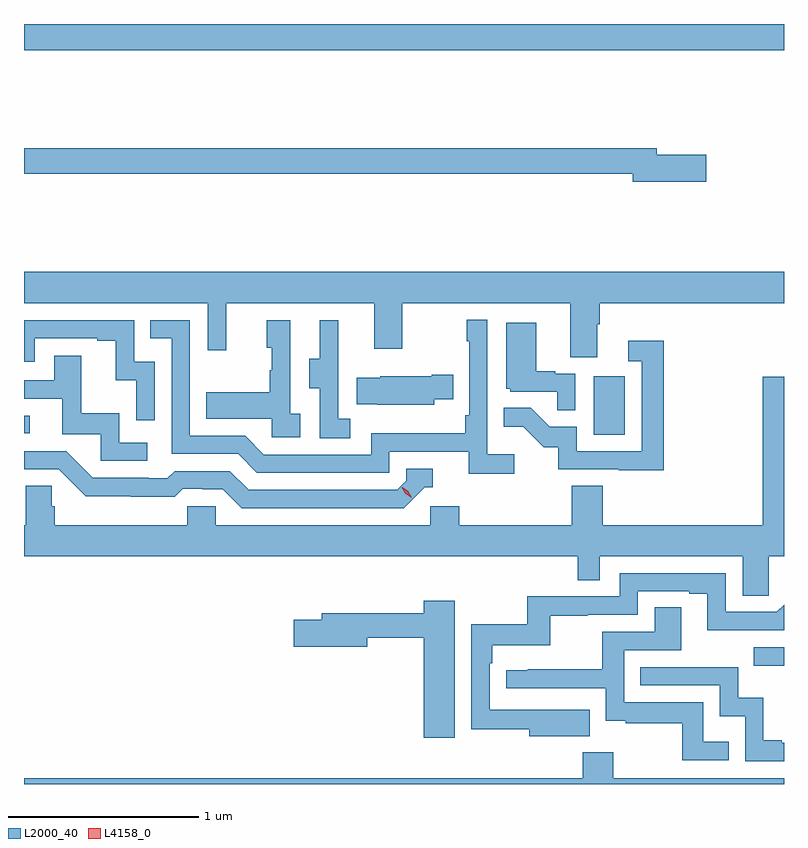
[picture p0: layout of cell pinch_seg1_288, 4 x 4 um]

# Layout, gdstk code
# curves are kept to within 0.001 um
import gdstk
lib = gdstk.Library(unit=1e-6, precision=1e-09)
def R(c, l, rs):  # rectangles x0, y0, x1, y1
    for r in rs: c.add(gdstk.rectangle(r[:2], r[2:], *l))
def P(c, l, *ps):  # polygons
    for p in ps: c.add(gdstk.Polygon(p, *l))
L2000_40 = (2000, 40)
L4158_0 = (4158, 0)

pinch_seg1_288 = lib.new_cell('pinch_seg1_288')
R(pinch_seg1_288, L2000_40, [(927.441,551.156,927.601,551.253), (926.6,552.372,926.764,552.679), (923.601,552.378,923.632,552.471), (923.601,554.396,927.601,554.533)])
P(pinch_seg1_288, L2000_40, [(927.193,553.844),(926.932,553.844),(926.932,553.88),(923.601,553.88),(923.601,553.744),(926.804,553.744),(926.804,553.702),(927.193,553.702)],
  [(926.617,552.952),(926.63,552.952),(926.63,553.064),(927.601,553.064),(927.601,553.228),(923.601,553.228),(923.601,553.064),(924.567,553.064),(924.567,552.816),(924.665,552.816),(924.665,553.064),(925.445,553.064),(925.445,552.825),(925.593,552.825),(925.593,553.064),(926.477,553.064),(926.477,552.778),(926.617,552.778)],
  [(926.182,552.268),(926.04,552.268),(926.04,552.976),(925.932,552.976),(925.932,552.863),(925.944,552.863),(925.944,552.475),(925.924,552.475),(925.924,552.379),(925.428,552.379),(925.428,552.267),(924.864,552.267),(924.765,552.366),(924.474,552.366),(924.474,552.975),(924.265,552.975),(924.265,552.879),(924.378,552.879),(924.378,552.27),(924.728,552.27),(924.827,552.171),(925.524,552.171),(925.524,552.282),(925.943,552.282),(925.943,552.166),(926.182,552.166)],
  [(924.288,552.756),(924.18,552.756),(924.18,552.975),(923.601,552.975),(923.601,552.756),(923.658,552.756),(923.658,552.879),(923.987,552.879),(923.987,552.867),(924.083,552.867),(924.083,552.659),(924.192,552.659),(924.192,552.447),(924.288,552.447)],
  [(925.318,552.455),(925.254,552.455),(925.254,552.759),(925.256,552.759),(925.256,552.973),(925.157,552.973),(925.157,552.771),(925.103,552.771),(925.103,552.616),(925.158,552.616),(925.158,552.352),(925.318,552.352)],
  [(925.054,552.482),(925.002,552.482),(925.002,552.973),(924.878,552.973),(924.878,552.828),(924.904,552.828),(924.904,552.71),(924.894,552.71),(924.894,552.595),(924.559,552.595),(924.559,552.455),(924.906,552.455),(924.906,552.357),(925.054,552.357)],
  [(926.502,552.693),(926.396,552.693),(926.396,552.706),(926.296,552.706),(926.296,552.961),(926.138,552.961),(926.138,552.612),(926.16,552.612),(926.16,552.597),(926.407,552.597),(926.407,552.499),(926.502,552.499)],
  [(926.969,552.865),(926.781,552.865),(926.781,552.759),(926.853,552.759),(926.853,552.285),(926.511,552.285),(926.511,552.414),(926.367,552.414),(926.269,552.512),(926.125,552.512),(926.125,552.413),(926.229,552.413),(926.336,552.306),(926.413,552.306),(926.413,552.189),(926.731,552.189),(926.731,552.184),(926.969,552.184)],
  [(924.25,552.33),(924.102,552.33),(924.102,552.484),(923.903,552.484),(923.903,552.787),(923.759,552.787),(923.759,552.657),(923.601,552.657),(923.601,552.561),(923.801,552.561),(923.801,552.375),(924.006,552.375),(924.006,552.234),(924.25,552.234)],
  [(925.761,552.557),(925.859,552.557),(925.859,552.687),(925.748,552.687),(925.748,552.679),(925.476,552.679),(925.476,552.67),(925.351,552.67),(925.351,552.533),(925.459,552.533),(925.459,552.53),(925.761,552.53)],
  [(927.522,551.732),(927.601,551.732),(927.601,552.676),(927.488,552.676),(927.488,551.896),(926.648,551.896),(926.648,552.104),(926.483,552.104),(926.483,551.896),(925.892,551.896),(925.892,551.994),(925.74,551.994),(925.74,551.896),(924.609,551.896),(924.609,551.994),(924.459,551.994),(924.459,551.896),(923.762,551.896),(923.762,551.994),(923.747,551.994),(923.747,552.104),(923.61,552.104),(923.61,551.896),(923.601,551.896),(923.601,551.732),(926.515,551.732),(926.515,551.605),(926.631,551.605),(926.631,551.732),(927.383,551.732),(927.383,551.524),(927.522,551.524)],
  [(925.71,552.096),(925.753,552.096),(925.753,552.192),(925.614,552.192),(925.614,552.129),(925.566,552.081),(924.783,552.081),(924.684,552.18),(924.395,552.18),(924.356,552.141),(924.257,552.141),(924.257,552.144),(923.964,552.144),(923.823,552.285),(923.601,552.285),(923.601,552.189),(923.784,552.189),(923.926,552.047),(924.162,552.047),(924.162,552.045),(924.395,552.045),(924.437,552.087),(924.54,552.087),(924.54,552.084),(924.647,552.084),(924.746,551.985),(925.599,551.985)],
  [(926.579,550.924),(926.052,550.923),(926.052,551.168),(926.066,551.168),(926.066,551.264),(926.371,551.264),(926.371,551.419),(926.567,551.419),(926.567,551.424),(926.832,551.424),(926.832,551.547),(927.101,551.547),(927.101,551.535),(927.197,551.535),(927.197,551.342),(927.601,551.343),(927.601,551.476),(927.564,551.439),(927.294,551.439),(927.294,551.643),(926.736,551.643),(926.736,551.52),(926.25,551.52),(926.25,551.374),(925.956,551.374),(925.956,550.822),(926.261,550.822),(926.261,550.784),(926.579,550.784)],
  [(925.867,551.497),(925.706,551.497),(925.706,551.431),(925.169,551.431),(925.169,551.397),(925.02,551.397),(925.02,551.255),(925.408,551.255),(925.408,551.302),(925.706,551.302),(925.706,550.776),(925.867,550.776)],
  [(927.311,550.756),(927.177,550.756),(927.177,550.962),(926.76,550.962),(926.76,551.238),(927.061,551.238),(927.061,551.462),(926.921,551.462),(926.921,551.334),(926.644,551.334),(926.644,551.138),(926.251,551.138),(926.251,551.133),(926.139,551.133),(926.139,551.037),(926.664,551.037),(926.664,550.865),(926.767,550.865),(926.767,550.854),(927.066,550.854),(927.066,550.659),(927.311,550.659)],
  [(927.601,550.749),(927.589,550.749),(927.589,550.762),(927.493,550.762),(927.493,550.987),(927.36,550.987),(927.36,551.148),(926.845,551.148),(926.845,551.052),(927.264,551.052),(927.264,550.889),(927.396,550.889),(927.396,550.653),(927.601,550.653)],
  [(927.601,550.564),(926.703,550.564),(926.703,550.699),(926.543,550.699),(926.543,550.564),(923.601,550.564),(923.601,550.533),(927.601,550.533)])
P(pinch_seg1_288, L4158_0, [(925.637,552.043),(925.607,552.063),(925.59,552.095),(925.59,552.096),(925.591,552.096),(925.622,552.076),(925.638,552.044),(925.638,552.043)])

lib.write_gds('pinch_seg1_288.gds')
